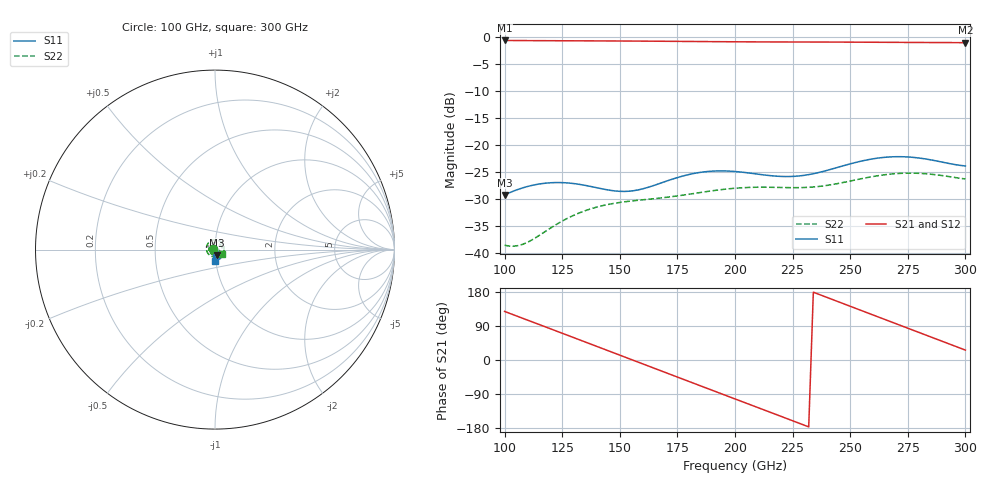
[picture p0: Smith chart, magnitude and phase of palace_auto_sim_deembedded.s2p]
! Created with skrf 1.11.0 (http://scikit-rf.org).
# GHz S DB R 50.0
!freq dBS11 angS11 dBS21 angS21 dBS12 angS12 dBS22 angS22
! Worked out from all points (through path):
!   101 points, 100 GHz to 300 GHz, reference 50 ohm
!   highest |S21| = -0.71 dB at 100 GHz (marker M1); lowest = -1.1 dB at 300 GHz (marker M2)
!   group delay of S21, straight-line fit = 6.42 ps
!   lowest |S11| = -29.3 dB at 100 GHz (marker M3), VSWR 1.07, Z = 51.1 - j3.3 ohm
!   |S11| at or under -10 dB: start of sweep to end of sweep
!   |S22| runs from -38.7 to -25.2 dB; largest |S21 - S12| = 1.1e-14
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100  -29.26 -69.5  -0.71 128.1  -0.71 128.1  -38.56 175.9
108  -27.93 -75.4  -0.73 109.7  -0.73 109.7  -38.36 124.2
116  -27.18 -82.5  -0.75 91.3  -0.75 91.3  -36.47 76.6
124  -26.97 -89.4  -0.76 72.9  -0.76 72.9  -34.33 37.8
134  -27.41 -95.4  -0.78 49.8  -0.78 49.8  -32.32 -4.3
144  -28.27 -95.4  -0.80 26.7  -0.80 26.7  -31.10 -44.6
152  -28.61 -90.0  -0.81 8.2  -0.81 8.2  -30.53 -77.7
160  -28.12 -83.3  -0.83 -10.3  -0.83 -10.3  -30.16 -112.2
168  -27.04 -80.0  -0.86 -28.8  -0.86 -28.8  -29.81 -148.0
184  -25.15 -84.7  -0.91 -65.8  -0.91 -65.8  -28.87 139.2
192  -24.83 -89.2  -0.93 -84.3  -0.93 -84.3  -28.38 103.6
200  -24.93 -93.0  -0.95 -102.7  -0.95 -102.7  -28.02 68.4
208  -25.31 -94.4  -0.97 -121.1  -0.97 -121.1  -27.85 33.1
218  -25.79 -92.0  -0.99 -144.2  -0.99 -144.2  -27.86 -12.8
226  -25.81 -87.4  -0.99 -162.6  -0.99 -162.6  -27.91 -51.4
234  -25.34 -82.5  -1.00 178.9  -1.00 178.9  -27.79 -91.4
250  -23.52 -79.9  -1.02 141.8  -1.02 141.8  -26.69 -170.0
260  -22.58 -83.6  -1.04 118.6  -1.04 118.6  -25.85 145.0
268  -22.22 -88.0  -1.06 100.1  -1.06 100.1  -25.39 110.9
276  -22.27 -92.4  -1.07 81.6  -1.07 81.6  -25.23 77.5
284  -22.70 -95.3  -1.09 63.1  -1.09 63.1  -25.39 43.6
300  -23.90 -90.7  -1.11 26.1  -1.11 26.1  -26.31 -30.6
